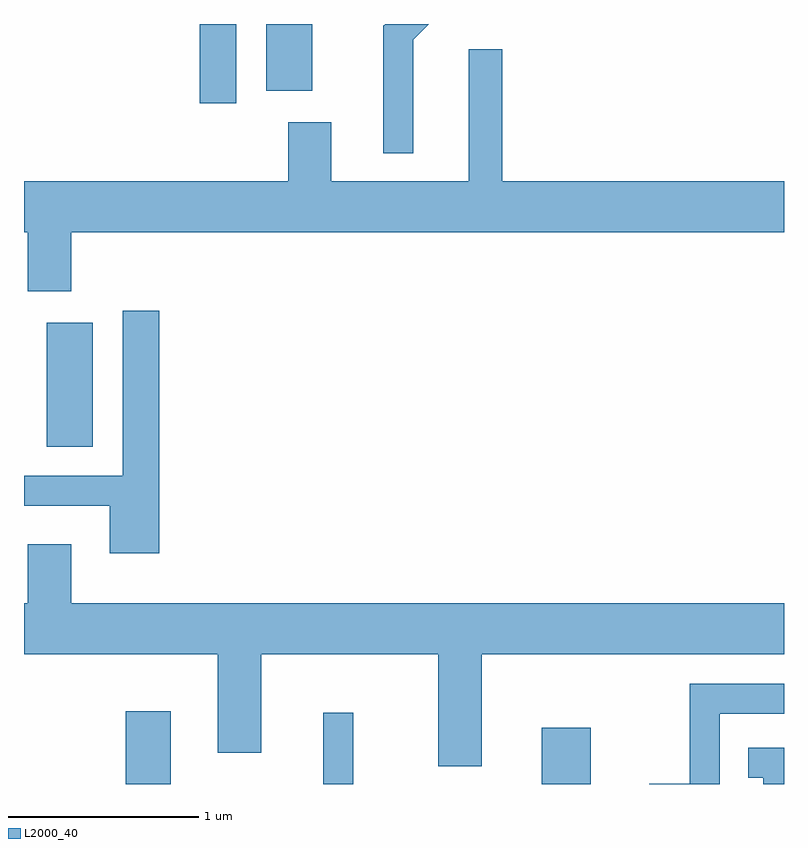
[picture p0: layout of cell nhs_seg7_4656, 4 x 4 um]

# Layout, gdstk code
import gdstk
lib = gdstk.Library(unit=1e-6, precision=1e-09)
def R(c, l, rs):  # rectangles x0, y0, x1, y1
    for r in rs: c.add(gdstk.rectangle(r[:2], r[2:], *l))
def P(c, l, *ps):  # polygons
    for p in ps: c.add(gdstk.Polygon(p, *l))
L2000_40 = (2000, 40)

nhs_seg7_4656 = lib.new_cell('nhs_seg7_4656')
R(nhs_seg7_4656, L2000_40, [(328.146,1760.252,328.384,1760.634), (329.186,1760.252,329.344,1760.628), (330.336,1760.252,330.594,1760.549), (327.731,1762.026,327.974,1762.679), (328.536,1763.836,328.729,1764.252), (328.886,1763.901,329.129,1764.252)])
P(nhs_seg7_4656, L2000_40, [(329.659,1764.169),(329.742,1764.252),(329.511,1764.252),(329.501,1764.242),(329.501,1763.573),(329.659,1763.573)],
  [(327.859,1763.156),(331.611,1763.156),(331.611,1763.424),(330.129,1763.424),(330.129,1764.119),(329.951,1764.119),(329.951,1763.424),(329.229,1763.424),(329.229,1763.734),(329.001,1763.734),(329.001,1763.424),(327.611,1763.424),(327.611,1763.156),(327.631,1763.156),(327.631,1762.846),(327.859,1762.846)],
  [(328.324,1762.744),(328.131,1762.744),(328.131,1761.874),(327.611,1761.874),(327.611,1761.716),(328.061,1761.716),(328.061,1761.466),(328.324,1761.466)],
  [(330.019,1760.936),(331.611,1760.936),(331.611,1761.204),(327.859,1761.204),(327.859,1761.514),(327.631,1761.514),(327.631,1761.204),(327.611,1761.204),(327.611,1760.936),(328.631,1760.936),(328.631,1760.416),(328.859,1760.416),(328.859,1760.936),(329.791,1760.936),(329.791,1760.346),(330.019,1760.346)],
  [(331.274,1760.621),(331.611,1760.621),(331.611,1760.779),(331.116,1760.779),(331.116,1760.254),(330.901,1760.254),(330.901,1760.252),(331.274,1760.252)],
  [(331.611,1760.444),(331.423,1760.444),(331.423,1760.286),(331.501,1760.286),(331.501,1760.252),(331.611,1760.252)])

lib.write_gds('nhs_seg7_4656.gds')
